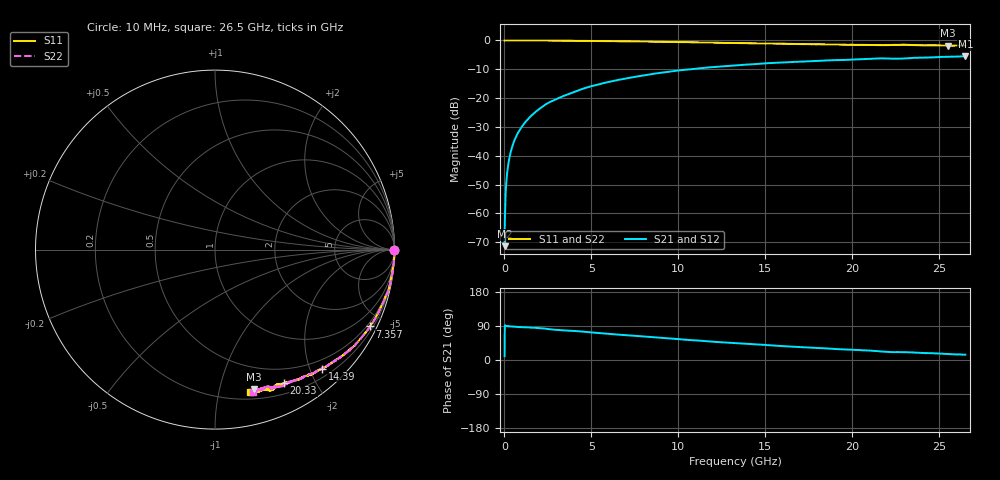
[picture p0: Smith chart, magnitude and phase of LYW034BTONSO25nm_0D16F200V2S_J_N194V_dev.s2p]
!Keysight Technologies,N5222B,MY61253708,A.15.00.15
!Date: Wednesday, June 19, 2024 10:40:10
!Correction: S11(C  2-Port  )
!S21(C  2-Port  )
!S12(C  2-Port  )
!S22(C  2-Port  )
!S2P File: Measurements: S11, S21, S12, S22:
# Hz S  RI  R 50
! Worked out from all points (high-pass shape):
!   2651 points, 10 MHz to 26.5 GHz, reference 50 ohm
!   highest |S21| = -5.47 dB at 26.5 GHz (marker M1); lowest = -71.3 dB at 10 MHz (marker M2)
!   |S21| within 3 dB of the highest: 13.64093 GHz to 13.65852 GHz (17.59 MHz wide, 0.129 % of centre); 13.69 GHz to end of sweep
!   lowest |S11| = -1.9 dB at 25.5 GHz (marker M3), VSWR 9.38, Z = 14.3 - j63.8 ohm
!   |S11| at or under -10 dB: nowhere
!   |S22| runs from -1.8 to 0.0 dB; largest |S21 - S12| = 0.0074
!   S11 on the Smith chart (normalised r, x): 10 MHz: open; 7.357 GHz: 0.35, -4.24; 14.39 GHz: 0.34, -2.20; 20.33 GHz: 0.32, -1.59; 26.5 GHz: 0.26, -1.25
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1e7  0.9985 -0.00322  0.000267 4.8e-05  -0.000285 0.000155  0.998 -0.00203
6.997736e7  1 -0.00509  2.23e-05 0.00227  2.38e-05 0.0023  0.9998 -0.00479
1.599434e8  0.9999 -0.0111  5.72e-05 0.00516  5.7e-05 0.00517  0.9997 -0.0104
1.999283e8  1 -0.0132  0.000105 0.00643  8.14e-05 0.00647  0.9997 -0.0125
2.599057e8  0.9998 -0.0172  9.57e-05 0.00836  0.000121 0.0084  0.9996 -0.0164
3.598679e8  0.9997 -0.0241  0.000257 0.0116  0.000254 0.0116  0.9995 -0.0234
4.898189e8  0.9985 -0.0324  0.000512 0.0158  0.000512 0.0158  0.9987 -0.0312
8.296906e8  0.9979 -0.054  0.00141 0.0265  0.00137 0.0266  0.998 -0.0534
1.449457e9  0.9911 -0.0952  0.00326 0.0466  0.00329 0.0466  0.9935 -0.0917
2.339121e9  0.9825 -0.149  0.0095 0.0761  0.00964 0.0763  0.9837 -0.1492
3.218789e9  0.9726 -0.2038  0.0201 0.1017  0.0202 0.1019  0.9728 -0.2031
4.428332e9  0.9453 -0.2748  0.0365 0.1383  0.0366 0.1386  0.9471 -0.2725
5.767826e9  0.9112 -0.3457  0.0632 0.173  0.0639 0.1734  0.9133 -0.3458
7.357226e9  0.8635 -0.4282  0.0997 0.2069  0.1006 0.207  0.8648 -0.4271
8.846664e9  0.8115 -0.4948  0.1393 0.2329  0.1402 0.233  0.8127 -0.494
1.3255e10  0.6406 -0.6369  0.2636 0.2594  0.265 0.2588  0.6435 -0.6365
1.439457e10  0.5976 -0.6631  0.2925 0.2566  0.2942 0.2563  0.6003 -0.6605
1.767333e10  0.4712 -0.7203  0.3693 0.2348  0.3717 0.233  0.4801 -0.7182
2.033233e10  0.3834 -0.7449  0.4224 0.2084  0.4231 0.2051  0.3955 -0.7451
2.209166e10  0.3366 -0.7572  0.4531 0.1753  0.4539 0.1727  0.3287 -0.7632
2.550038e10  0.2167 -0.7778  0.5032 0.1401  0.5038 0.1402  0.2358 -0.7799
2.65e10  0.1973 -0.7928  0.5169 0.1294  0.5155 0.1259  0.2093 -0.7907
